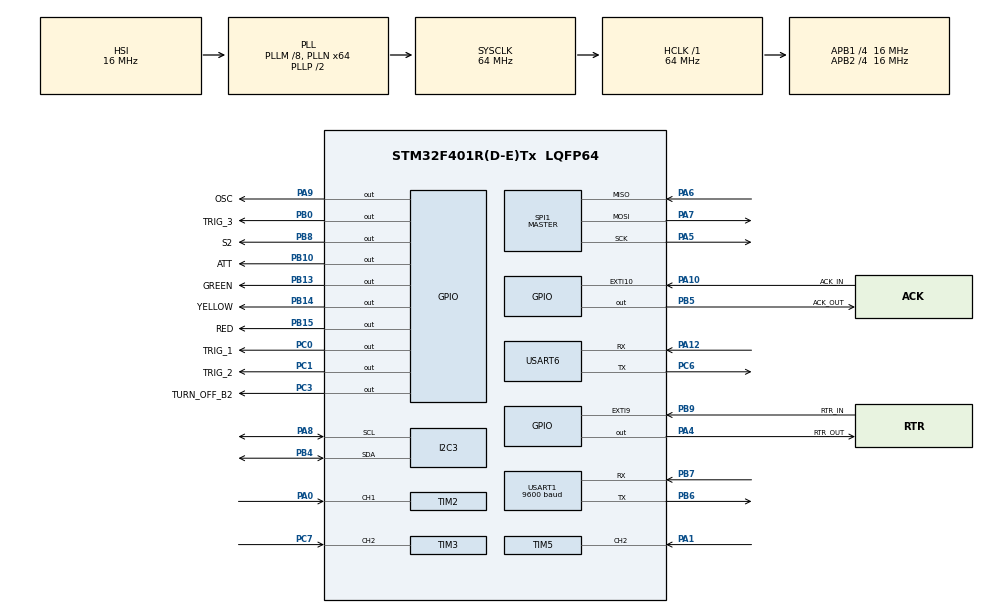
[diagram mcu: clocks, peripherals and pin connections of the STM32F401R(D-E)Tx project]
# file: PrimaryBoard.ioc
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ADC1.Channel-1\#ChannelRegularConversion=ADC_CHANNEL_TEMPSENSOR
ADC1.ContinuousConvMode=ENABLE
ADC1.EOCSelection=ADC_EOC_SEQ_CONV
ADC1.NbrOfConversionFlag=1
ADC1.Rank-1\#ChannelRegularConversion=1
ADC1.SamplingTime-1\#ChannelRegularConversion=ADC_SAMPLETIME_3CYCLES
ADC1.master=1
FREERTOS.Tasks01=defaultTask,24,128,StartDefaultTask,Default,NULL,Dynamic,NULL,NULL
FREERTOS.configENABLE_FPU=1
FREERTOS.configUSE_NEWLIB_REENTRANT=1
I2C3.DutyCycle=I2C_DUTYCYCLE_16_9
I2C3.I2C_Mode=I2C_Fast
Mcu.Family=STM32F4
Mcu.Name=STM32F401R(D-E)Tx
Mcu.Package=LQFP64
NVIC.EXTI15_10_IRQn=true\:5\:0\:false\:false\:true\:true\:true\:true\:true
NVIC.EXTI9_5_IRQn=true\:5\:0\:false\:false\:true\:true\:true\:true\:true
NVIC.PriorityGroup=NVIC_PRIORITYGROUP_4
NVIC.TIM1_TRG_COM_TIM11_IRQn=true\:5\:0\:false\:false\:true\:true\:true\:true\:true
NVIC.TIM1_UP_TIM10_IRQn=true\:15\:0\:false\:false\:true\:false\:false\:true\:true
NVIC.TIM2_IRQn=true\:5\:0\:false\:false\:true\:true\:true\:true\:true
NVIC.TIM3_IRQn=true\:5\:0\:false\:false\:true\:true\:true\:true\:true
NVIC.TIM5_IRQn=true\:5\:0\:false\:false\:true\:true\:true\:true\:true
NVIC.TimeBase=TIM1_UP_TIM10_IRQn
NVIC.TimeBaseIP=TIM10
NVIC.USART6_IRQn=true\:5\:0\:false\:false\:true\:true\:true\:true\:true
PA0-WKUP.Signal=S_TIM2_CH1_ETR
PA1.Signal=S_TIM5_CH2
PA10.GPIO_Label=ACK_IN
PA10.Signal=GPXTI10
PA12.Mode=Asynchronous
PA12.Signal=USART6_RX
PA13.Mode=Trace_Asynchronous_SW
PA13.Signal=SYS_JTMS-SWDIO
PA14.Mode=Trace_Asynchronous_SW
PA14.Signal=SYS_JTCK-SWCLK
PA4.GPIO_Label=RTR_OUT
PA4.Signal=GPIO_Output
PA5.Mode=Full_Duplex_Master
PA5.Signal=SPI1_SCK
PA6.Mode=Full_Duplex_Master
PA6.Signal=SPI1_MISO
PA7.Mode=Full_Duplex_Master
PA7.Signal=SPI1_MOSI
PA8.Mode=I2C
PA8.Signal=I2C3_SCL
PA9.GPIO_Label=OSC
PA9.Signal=GPIO_Output
PB0.GPIO_Label=TRIG_3
PB0.Signal=GPIO_Output
PB10.GPIO_Label=ATT
PB10.Signal=GPIO_Output
PB13.GPIO_Label=GREEN
PB13.Signal=GPIO_Output
PB14.GPIO_Label=YELLOW
PB14.Signal=GPIO_Output
PB15.GPIO_Label=RED
PB15.Signal=GPIO_Output
PB3.Mode=Trace_Asynchronous_SW
PB3.Signal=SYS_JTDO-SWO
PB4.Mode=I2C
PB4.Signal=I2C3_SDA
PB5.GPIO_Label=ACK_OUT
PB5.Signal=GPIO_Output
PB6.Mode=Asynchronous
PB6.Signal=USART1_TX
PB7.Mode=Asynchronous
PB7.Signal=USART1_RX
PB8.GPIO_Label=S2
PB8.Signal=GPIO_Output
PB9.GPIO_Label=RTR_IN
PB9.Signal=GPXTI9
PC0.GPIO_Label=TRIG_1
PC0.Signal=GPIO_Output
PC1.GPIO_Label=TRIG_2
PC1.Signal=GPIO_Output
PC3.GPIO_Label=TURN_OFF_B2
PC3.Signal=GPIO_Output
PC6.Mode=Asynchronous
PC6.Signal=USART6_TX
PC7.Signal=S_TIM3_CH2
ProjectManager.HeapSize=0x200
ProjectManager.StackSize=0x400
ProjectManager.TargetToolchain=STM32CubeIDE
RCC.48MHZClocksFreq_Value=18285714.285714287
RCC.AHBFreq_Value=64000000
RCC.APB1CLKDivider=RCC_HCLK_DIV4
RCC.APB1Freq_Value=16000000
RCC.APB1TimFreq_Value=32000000
RCC.APB2CLKDivider=RCC_HCLK_DIV4
RCC.APB2Freq_Value=16000000
RCC.APB2TimFreq_Value=32000000
RCC.CortexFreq_Value=64000000
RCC.HCLKFreq_Value=64000000
RCC.HSE_VALUE=8000000
RCC.HSI_VALUE=16000000
RCC.LSE_VALUE=32768
RCC.PLLM=8
RCC.PLLN=64
RCC.PLLQ=7
RCC.SYSCLKFreq_VALUE=64000000
RCC.SYSCLKSource=RCC_SYSCLKSOURCE_PLLCLK
RCC.VCOOutputFreq_Value=128000000
SH.S_TIM2_CH1_ETR.0=TIM2_CH1,Input_Capture1_from_TI1
SH.S_TIM3_CH2.0=TIM3_CH2,Input_Capture2_from_TI2
SH.S_TIM5_CH2.0=TIM5_CH2,Input_Capture2_from_TI2
SPI1.BaudRatePrescaler=SPI_BAUDRATEPRESCALER_256
SPI1.CLKPhase=SPI_PHASE_2EDGE
SPI1.CLKPolarity=SPI_POLARITY_HIGH
SPI1.Direction=SPI_DIRECTION_2LINES
SPI1.FirstBit=SPI_FIRSTBIT_LSB
SPI1.Mode=SPI_MODE_MASTER
SPI1.VirtualType=VM_MASTER
TIM2.Channel-Input_Capture1_from_TI1=TIM_CHANNEL_1
TIM2.Prescaler=31
TIM3.Channel-Input_Capture2_from_TI2=TIM_CHANNEL_2
TIM3.Prescaler=31
TIM5.Channel-Input_Capture2_from_TI2=TIM_CHANNEL_2
TIM5.Prescaler=31
USART1.BaudRate=9600
USART1.VirtualMode=VM_ASYNC
USART6.Parity=PARITY_ODD
USART6.VirtualMode=VM_ASYNC
USART6.WordLength=WORDLENGTH_9B
VP_ADC1_TempSens_Input.Mode=IN-TempSens
VP_CRC_VS_CRC.Mode=CRC_Activate
VP_FREERTOS_VS_CMSIS_V2.Mode=CMSIS_V2
VP_SYS_VS_tim10.Mode=TIM10
VP_TIM11_VS_ClockSourceINT.Mode=Enable_Timer
board=NUCLEO-F401RE

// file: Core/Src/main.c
/*
 * Course: IoT and embedded system design 2023/2024
 *
 * Lecturer: Francesco Moscato	fmoscato@unisa.it
 *
 * Group:
 * Adinolfi Teodoro    0622701902	   t.adinolfi2@studenti.unisa.it
 * Amato Emilio        0622701903      e.amato16@studenti.unisa.it
 * Bove Antonio        0622701898      a.bove57@studenti.unisa.it
 * Guarini Alessio     0622702042	   g.guarini7@studenti.unisa.it
 *
 * Copyright (C) 2024 - All Rights Reserved
 *
 * This file is part of PrimaryBoard.
 *
 * This program is free software: you can redistribute it and/or modify it under the terms of
 * the GNU General Public License as published by the Free Software Foundation, either version
 * 3 of the License, or (at your option) any later version.
 *
 * This program is distributed in the hope that it will be useful, but WITHOUT ANY WARRANTY;
 * without even the implied warranty of MERCHANTABILITY or FITNESS FOR A PARTICULAR PURPOSE.
 * See the GNU General Public License for more details.
 *
 * You should have received a copy of the GNU General Public License along with ContestOMP.
 * If not, see <http://www.gnu.org/licenses/>.
 */

/* USER CODE BEGIN Header */
/**
  ******************************************************************************
  * @file           : main.c
  * @brief          : Main program body
  ******************************************************************************
  * @attention
  *
  * Copyright (c) 2023 STMicroelectronics.
  * All rights reserved.
  *
  * This software is licensed under terms that can be found in the LICENSE file
  * in the root directory of this software component.
  * If no LICENSE file comes with this software, it is provided AS-IS.
  *
  ******************************************************************************
  */
/* USER CODE END Header */
#include "main.h"
#include "cmsis_os.h"
#include "adc.h"
#include "crc.h"
#include "i2c.h"
#include "spi.h"
#include "tim.h"
#include "usart.h"
#include "gpio.h"

/* USER CODE BEGIN Includes */
#include "scheduler.h"

/* USER CODE END Includes */

void SystemClock_Config(void);
void MX_FREERTOS_Init(void);

int main(void)
{

  /* MCU Configuration--------------------------------------------------------*/

  /* Reset of all peripherals, Initializes the Flash interface and the Systick. */
  HAL_Init();

  /* Configure the system clock */
  SystemClock_Config();

  /* Initialize all configured peripherals */
  MX_GPIO_Init();
  MX_TIM5_Init();
  MX_USART1_UART_Init();
  MX_I2C3_Init();
  MX_TIM3_Init();
  MX_SPI1_Init();
  MX_TIM2_Init();
  MX_ADC1_Init();
  MX_CRC_Init();
  MX_USART6_UART_Init();
  MX_TIM11_Init();
  /* USER CODE BEGIN 2 */
  HAL_Delay(100);
  HAL_GPIO_WritePin(S2_GPIO_Port, S2_Pin, 1);
  HAL_GPIO_WritePin(TURN_OFF_B2_GPIO_Port, TURN_OFF_B2_Pin, 0);
  /* USER CODE END 2 */

  /* Init scheduler */
  osKernelInitialize();

  /* Call init function for freertos objects (in freertos.c) */
  MX_FREERTOS_Init();

  /* Start scheduler */
  osKernelStart();

  /* We should never get here as control is now taken by the scheduler */
  /* Infinite loop */
  while (1)
  {

  }
}

void SystemClock_Config(void)
{
  RCC_OscInitTypeDef RCC_OscInitStruct = {0};
  RCC_ClkInitTypeDef RCC_ClkInitStruct = {0};

  /** Configure the main internal regulator output voltage
  */
  __HAL_RCC_PWR_CLK_ENABLE();
  __HAL_PWR_VOLTAGESCALING_CONFIG(PWR_REGULATOR_VOLTAGE_SCALE2);

  /** Initializes the RCC Oscillators according to the specified parameters
  * in the RCC_OscInitTypeDef structure.
  */
  RCC_OscInitStruct.OscillatorType = RCC_OSCILLATORTYPE_HSI;
  RCC_OscInitStruct.HSIState = RCC_HSI_ON;
  RCC_OscInitStruct.HSICalibrationValue = RCC_HSICALIBRATION_DEFAULT;
  RCC_OscInitStruct.PLL.PLLState = RCC_PLL_ON;
  RCC_OscInitStruct.PLL.PLLSource = RCC_PLLSOURCE_HSI;
  RCC_OscInitStruct.PLL.PLLM = 8;
  RCC_OscInitStruct.PLL.PLLN = 64;
  RCC_OscInitStruct.PLL.PLLP = RCC_PLLP_DIV2;
  RCC_OscInitStruct.PLL.PLLQ = 7;
  if (HAL_RCC_OscConfig(&RCC_OscInitStruct) != HAL_OK)
  {
    Error_Handler();
  }

  /** Initializes the CPU, AHB and APB buses clocks
  */
  RCC_ClkInitStruct.ClockType = RCC_CLOCKTYPE_HCLK|RCC_CLOCKTYPE_SYSCLK
                              |RCC_CLOCKTYPE_PCLK1|RCC_CLOCKTYPE_PCLK2;
  RCC_ClkInitStruct.SYSCLKSource = RCC_SYSCLKSOURCE_PLLCLK;
  RCC_ClkInitStruct.AHBCLKDivider = RCC_SYSCLK_DIV1;
  RCC_ClkInitStruct.APB1CLKDivider = RCC_HCLK_DIV4;
  RCC_ClkInitStruct.APB2CLKDivider = RCC_HCLK_DIV4;

  if (HAL_RCC_ClockConfig(&RCC_ClkInitStruct, FLASH_LATENCY_2) != HAL_OK)
  {
    Error_Handler();
  }
}

void Error_Handler(void)
{
  /* USER CODE BEGIN Error_Handler_Debug */
  /* User can add his own implementation to report the HAL error return state */
  __disable_irq();
  HAL_GPIO_WritePin(S2_GPIO_Port, S2_Pin, 1);
  HAL_GPIO_WritePin(TURN_OFF_B2_GPIO_Port, TURN_OFF_B2_Pin, 1);
  while (1)
  {
  }
  /* USER CODE END Error_Handler_Debug */
}

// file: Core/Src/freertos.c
/*
 * Course: IoT and embedded system design 2023/2024
 *
 * Lecturer: Francesco Moscato	fmoscato@unisa.it
 *
 * Group:
 * Adinolfi Teodoro    0622701902	   t.adinolfi2@studenti.unisa.it
 * Amato Emilio        0622701903      e.amato16@studenti.unisa.it
 * Bove Antonio        0622701898      a.bove57@studenti.unisa.it
 * Guarini Alessio     0622702042	   g.guarini7@studenti.unisa.it
 *
 * Copyright (C) 2024 - All Rights Reserved
 *
 * This file is part of PrimaryBoard.
 *
 * This program is free software: you can redistribute it and/or modify it under the terms of
 * the GNU General Public License as published by the Free Software Foundation, either version
 * 3 of the License, or (at your option) any later version.
 *
 * This program is distributed in the hope that it will be useful, but WITHOUT ANY WARRANTY;
 * without even the implied warranty of MERCHANTABILITY or FITNESS FOR A PARTICULAR PURPOSE.
 * See the GNU General Public License for more details.
 *
 * You should have received a copy of the GNU General Public License along with ContestOMP.
 * If not, see <http://www.gnu.org/licenses/>.
 */

/* USER CODE BEGIN Header */
/**
  ******************************************************************************
  * File Name          : freertos.c
  * Description        : Code for freertos applications
  ******************************************************************************
  * @attention
  *
  * Copyright (c) 2024 STMicroelectronics.
  * All rights reserved.
  *
  * This software is licensed under terms that can be found in the LICENSE file
  * in the root directory of this software component.
  * If no LICENSE file comes with this software, it is provided AS-IS.
  *
  ******************************************************************************
  */
/* USER CODE END Header */

#include "FreeRTOS.h"
#include "task.h"
#include "main.h"
#include "cmsis_os.h"

/* USER CODE BEGIN Includes */
#include "tim.h"
#include "adc.h"
#include "crc.h"
/* Include Dependencies */
#include "geometry.h"
#include "sabertooth_2x12.h"
#include "ps2x.h"
#include "smoothed_ps2x_analog.h"
#include "mpu60x0.h"
#include "hcsr04.h"
#include "state_manager.h"

#include "b2b_common.h"
#include "b2b_protocol.h"
#include "delayus.h"

#include "math.h"

#include "liquid_crystal_I2C.h"

#include <stdlib.h>
#include <stdio.h>

/**
 * @file scheduler.h
 * @brief Replaces the FreeRTOS scheduler with the custom scheduler "ESFree".
 *
 * This file includes the necessary definitions to implement the "ESFree" scheduler,
 * designed to support the Timeline Scheduling policy in FreeRTOS environments.
 * It includes functions for initializing and managing the custom scheduler.
 *
 * For the use of the Timeline Scheduling policy, the macro schedSCHEDULING_POLICY_MANUAL has been configured.
 *
 * Furthermore, for the correct use of the following policy, in the FreeRTOSConfig.h configuration file,
 * time slicing has been disabled by setting the macro configUSE_TIME_SLICING to 0, as it is normally active.
 */
#include "scheduler.h"

/**
 * @file periodic_tasks_constants.h
 * @brief Defines constants for periodic tasks.
 *
 * This header file contains the definitions of constants necessary to configure
 * periodic tasks. It includes definitions for the phase, period, worst-case execution time (WCET),
 * and deadline of each task.
 */
#include "periodic_tasks_constants.h"

/* USER CODE END Includes */

/* USER CODE BEGIN PD */

#define MAX_VELOCITY_NORMAL				(POWER_MAX)							/**< Defines the max velocity of the rover with the normal behaviour. */
#define MAX_VELOCITY_DEGRADED			((int8_t)POWER_MAX / 2)				/**< Defines the max velocity of the rover with the degraded behaviour. */
#define USE_B2B_PROTOCOL													/**< Enables the use of the B2B protocol. */
#define USE_PS2X               							  					/**< Enables the use of the PS2X controller. */
#define USE_SABERTOOTHS 	  							  					/**< Enables the use of the Sabertooth motor drivers. */
#define USE_MPU6050 		  							  					/**< Enables the use of the MPU6050 accelerometer. */
#define USE_HCSR04 			  							  					/**< Enables the use of the HCSR04 ultrasonic sensors. */
//#define USE_LCD 			  							  					/**< Enables the use of the LCD display. */

/* USER CODE END PD */

/* USER CODE BEGIN Variables */

/********************** B2B protocol buffer *****************/
/**
 * @brief Buffer used for the B2B protocol. This buffer is used to store the data exchanged between the two boards.
 * this buffer is used for all the data exchanged between the two boards.
*/
static uint8_t buffer[SUBSTATE_B1_B2_BYTE_SIZE + CRC_SIZE];

/********************** B2B configuration parameter *****************/
static const b2b_config_t b2b_config = {
		  .ack_in_Pin = ACK_IN_Pin,
		  .ack_in_Port = ACK_IN_GPIO_Port,
		  .ack_out_Pin = ACK_OUT_Pin,
		  .ack_out_Port = ACK_OUT_GPIO_Port,
		  .rtr_in_Pin = RTR_IN_Pin,
		  .rtr_in_Port = RTR_IN_GPIO_Port,
		  .rtr_out_Pin = RTR_OUT_Pin,
		  .rtr_out_Port = RTR_OUT_GPIO_Port,
		  .uartHandle = &huart6,
		  .crcHandle  = &hcrc,
		  .timer = &htim11
};

/*******************************************************************/

/******************* PS2X configuration parameter *******************/
static PS2X ps2x;
static const PS2X_config_t ps2x_config = {
		  .ATT_Port = ATT_GPIO_Port,
		  .ATT_GPIO_Pin = ATT_Pin,
		  .hspi = &hspi1
};
/********************************************************************/

/***************** MPU60X0 configuration parameter *****************/
static MPU60X0_t mpu6050;
static const MPU60X0_config_t mpu6050_config = {
		  .hi2c = &hi2c3
};
/*******************************************************************/

/****************** HCSR04 configuration parameter *****************/
static ultrasounds_t ultrasounds;
static const HCSR04_config_t HCSR04_left_config = {
		  .Trig_Port = TRIG_1_GPIO_Port,
		  .Trig_Pin = TRIG_1_Pin,
		  .timer = &htim5,
		  .channel = TIM_CHANNEL_2
};

static const HCSR04_config_t HCSR04_center_config = {
  		  .Trig_Port = TRIG_2_GPIO_Port,
  		  .Trig_Pin = TRIG_2_Pin,
  		  .timer = &htim2,
  		  .channel = TIM_CHANNEL_1
};

static const HCSR04_config_t HCSR04_right_config = {
  		  .Trig_Port = TRIG_3_GPIO_Port,
  		  .Trig_Pin = TRIG_3_Pin,
  		  .timer = &htim3,
  		  .channel = TIM_CHANNEL_2
};
/*******************************************************************/
/**************** Sabertooth configuration parameter ***************/
static sabertooth_t sabertooth1, sabertooth2;
static const sabertooth_config_t sabertooth_1_config = {
		  .address = 128,
		  .uartHandle = &huart1
};
static const sabertooth_config_t sabertooth_2_config = {
  		  .address = 130,
  		  .uartHandle = &huart1
};
/*******************************************************************/
/************* Liquid Crystal I2C configuration parameter **********/
lcd_i2c_t lcd;
lcd_i2c_config_t lcd_config = {
		._addr = LCD_ADDRESS,
		._cols = 16,
		._i2cHandle = &hi2c3,
		._rows = 2
};

static uint8_t timer_elapsed_first = 0;	/**< Flag to check if the first timer has elapsed, only for internal purpose. */

/**
 * @brief Handle for the sensor reading task.
 *
 * This variable is used to maintain the reference to the task responsible
 * for reading the sensors.
 */
TaskHandle_t read_sensors_task_handle           = NULL;

/**
 * @brief Handle for the decision task.
 *
 * This variable is the handle for the task responsible for deciding the next actions
 * based on the exchanged and non-exchanged information among the boards.
 */
TaskHandle_t decision_task_handle          		= NULL;

/**
 * @brief Handle for the actuation task.
 *
 * Handle for the task responsible for actuation operations. In particular, it is responsible
 * for managing the actuation and control of the motors.
 */
TaskHandle_t actuation_task_handle              = NULL;

#ifdef USE_LCD
static char buff[30];
#endif

/* USER CODE END Variables */

/* USER CODE BEGIN FunctionPrototypes */
void MX_FREERTOS_Init(void); /* (MISRA C 2004 rule 8.1) */

/**
 * @brief  Task used to read all the sensors managed by the primary board
 *
 * @param pvParameters  parameters passed to the task
 */
static void read_sensors_task(void *pvParameters);

/**
 * @brief Task used to manage the communication between the two boards, this task
 * only starts the comunication, all the protocol will be executed in background
 * useing the interrupt
 *
 * @param pvParameters parameters passed to the task
 */
static void decision_task(void *pvParameters);

/**
 * @brief Task used to manage the actuation of the rover
 *
 * @param pvParameters parameters passed to the task
 */
static void actuation_task(void *pvParameters);

/**
 * @brief Task used to manage the actuation of the rover
 *
 * @param pvParameters parameters passed to the task
 */
static void single_board_task(void *pvParameters);

/********************** Control Buttons Managing *****************/
/**
 * @brief Clears impulsive action flags from the control buttons state.
 *
 * This function removes the flags related to actions that are intended to be impulsive or momentary,
 * such all flags that do not concern the backward alternative, the emergency stop, ensuring that these actions do not persist
 * beyond their intended moment of activation.
 *
 * @param control_buttons The current state of the control buttons.
 * @return The new state of the control buttons with impulsive action flags cleared.
 */
static inline uint8_t __clear_impulsive_flags(uint8_t control_buttons);

/**
 * @brief Clears the emergency stop flag from the control buttons state.
 *
 * This function specifically targets and clears the emergency stop flag, allowing for the
 * reset of the emergency stop state without affecting other control states.
 *
 * @param control_buttons The current state of the control buttons.
 * @return The new state of the control buttons with the emergency stop flag cleared.
 */
static inline uint8_t __clear_emegency_stop_flags(uint8_t control_buttons);

/**
 * @brief Determines if the alternate backward command combo is activated.
 *
 * Checks if a specific combination of buttons (e.g., SQUARE and DOWN) is pressed to activate
 * an alternate backward command. This could be used to trigger special vehicle movements or actions.
 *
 * @param ps2x Pointer to the PS2X controller object.
 * @return A mask indicating whether the alternate backward command combo is active.
 */
static inline uint8_t __get_alt_backward_combo_mask(PS2X *ps2x);

/**
 * @brief Determines if the backward command is activated based on the rover's state.
 *
 * Checks if the conditions for activating a backward command are met, considering the current
 * state of the rover and the button press state. This can include specific button combinations
 * and rover states such as being idle.
 *
 * @param ps2x Pointer to the PS2X controller object.
 * @param rover_state The current state of the rover.
 * @param control_buttons The current state of the control buttons.
 * @return A mask indicating whether the backward command is active.
 */
static inline uint8_t __get_backward_cmd_mask(PS2X *ps2x, ROVER_STATE rover_state, uint8_t control_buttons);

/**
 * @brief Clears the flags related to light control from the control buttons state.
 *
 * This function targets and clears the flags controlling the vehicle's lights, allowing for
 * the reset of the lights' state without affecting other control states.
 *
 * @param control_buttons Pointer to the current state of the control buttons.
 */
static inline void __clear_lights_flag(uint8_t *control_buttons);

/**
 * @brief Clears the emergency stop flag from the control buttons state by reference.
 *
 * @param control_buttons Pointer to the current state of the control buttons.
 */
static inline void __clear_emergency_stop_flag(uint8_t *control_buttons);

/**
 * @brief Calculates the control buttons mask for light controls based on PS2X input.
 *
 * Determines the state of the vehicle's lights (left, right, both) based on the current
 * state of the PS2X controller inputs. This includes toggling lights on or off based on specific
 * button presses.
 *
 * @param ps2x Pointer to the PS2X controller object.
 * @param control_buttons The current state of the control buttons, used to determine the initial state of the lights.
 * @return A mask indicating the new state of the lights control buttons.
 */
static inline uint8_t __get_lights_control_buttons_mask(PS2X *ps2x, uint8_t control_buttons);

/**
 * @brief Determines if the buzzer should be activated based on PS2X input.
 *
 * Checks if the button for activating the buzzer (e.g., L1) is pressed, allowing for auditory
 * feedback or alerts based on controller input.
 *
 * @param ps2x Pointer to the PS2X controller object.
 * @return A mask indicating whether the buzzer is activated.
 */
static inline uint8_t __get_buzzer_mask(PS2X *ps2x);

/**
 * @brief Determines the emergency stop mask based on PS2X input and current control buttons state.
 *
 * This function calculates whether an emergency stop action should be toggled based on the current
 * button press state and the previous state of the emergency stop control.
 *
 * @param ps2x Pointer to the PS2X controller object.
 * @param control_buttons The current state of the control buttons, used to determine the initial state of the emergency stop.
 * @return The new state of the emergency stop control button.
 */
static inline uint8_t __get_emergency_stop_mask(PS2X *ps2x, uint8_t control_buttons);

/**
 * @brief Updates the control buttons state based on PS2X input and rover state.
 *
 * This function consolidates the various control button state updates, including clearing impulsive flags,
 * updating light control states, and setting emergency stop, buzzer states, the alternative backward states, based on the current
 * inputs from the PS2X controller and the rover's state.
 *
 * @param ps2x Pointer to the PS2X controller object.
 * @param rover_state The current state of the rover.
 * @param control_buttons The current state of the control buttons.
 * @return The updated state of the control buttons incorporating all changes based on input and rover state.
 */
static inline uint8_t __update_control_buttons(PS2X *ps2x, ROVER_STATE rover_state, uint8_t control_buttons);

/**
 * @brief Read the gamepad associated to the specified ps2x structure.
 *
 * @param ps2x structure associated to the gamepad
 */
static void __read_gamepad(PS2X *ps2x);

/**
 * @brief Read the MPU6050 sensor associated to the specified mpu6050 structure.
 *
 * @param mpu6050 structure associated to the MPU6050 sensor
 */
static void __read_mpu6050(MPU60X0_t *mpu6050);

/**
 * @brief Read the temperature of the microcontroller.
 */
static void __read_temperature(void);

/**
 * @brief Calculates the maximum allowable velocity based on the current rover state.
 *
 * @return int8_t maximum allowable velocity
 */
static int8_t __get_max_velocity(void);

/**
 * @brief Drive the rover based on the current state and the received commands.
 *
 * @param sabertooth1 pointer to the first sabertooth motor driver
 * @param sabertooth2 pointer to the second sabertooth motor driver
 * @param x_analog x-axis analog value
 * @param y_analog y-axis analog value
 * @param max_velocity maximum allowable velocity
 * @param max_increment_y maximum increment of the y-axis analog value, higher values mean faster acceleration
 * @param max_decrement_y maximum decrement of the y-axis analog value, higher values mean faster deceleration
 */
static void __drive(sabertooth_t *sabertooth1, sabertooth_t *sabertooth2, int8_t x_analog, int8_t y_analog, int8_t max_velocity,
					uint8_t max_increment_y, uint8_t max_decrement_y);

/* USER CODE END FunctionPrototypes */

void MX_FREERTOS_Init(void) {
  /* USER CODE BEGIN Init */

	#ifdef USE_B2B_PROTOCOL
	b2b_protocol_init(&b2b_config, buffer);
	#endif

	#ifdef USE_PS2X
	if(PS2X_init(&ps2x, &ps2x_config, 1, osWaitForever) != PS2X_OK){
		PS2X_StatusTypeDef ps2_status = PS2X_ERROR;
		do{
			ps2_status = ping_controller(&ps2x, 1, osWaitForever);
		} while(ps2_status != PS2X_OK);
	}
	#endif

	#ifdef USE_LCD
	if(liquidCrystal_I2C_init(&lcd, &lcd_config) != LCD_OK){
		Error_Handler();
	}
	#endif

	#ifdef USE_MPU6050
	if(MPU60X0_init(&mpu6050, &mpu6050_config, osWaitForever) != MPU60X0_OK){
		Error_Handler();
	}
	#endif

	#ifdef USE_HCSR04
	if(HCSR04_init(&ultrasounds, &HCSR04_left_config, &HCSR04_center_config, &HCSR04_right_config) != HCSR04_OK){
		Error_Handler();
	}
	#endif

	#ifdef USE_SABERTOOTHS
	if(sabertooth_init(&sabertooth1, &sabertooth_1_config) != SABERTOOTH_OK ||
       sabertooth_init(&sabertooth2, &sabertooth_2_config) != SABERTOOTH_OK){
	  Error_Handler();
	}
	#endif

	if(HAL_ADC_Start(&hadc1) != HAL_OK){
		Error_Handler();
	}

  /* Inizializzazione dello scheduler*/
	vSchedulerInit();
  /* Creazione dei task periodici */

  /* Creazione del task di lettura dei sensori con i parametri definiti in periodic_tasks_constants.h */
  vSchedulerPeriodicTaskCreate(read_sensors_task, "read_Sensors_task", configMINIMAL_STACK_SIZE, NULL, 3, &read_sensors_task_handle, READ_SENSORS_TASK_PHASE, READ_SENSORS_TASK_PERIOD, READ_SENSORS_TASK_WCET, READ_SENSORS_TASK_DEADLINE);

  /* Creazione del task di decisione con i parametri definiti in periodic_tasks_constants.h */
  vSchedulerPeriodicTaskCreate(decision_task, "decision_task", configMINIMAL_STACK_SIZE, NULL, 2, &decision_task_handle, DECISION_TASK_PHASE, DECISION_TASK_PERIOD, DECISION_TASK_WCET, DECISION_TASK_DEADLINE);

  /* Creazione del task di attuazione con i parametri definiti in periodic_tasks_constants.h */
  vSchedulerPeriodicTaskCreate(actuation_task, "actuation_task", configMINIMAL_STACK_SIZE, NULL, 1, &actuation_task_handle, ACTUATION_TASK_PHASE, ACTUATION_TASK_PERIOD, ACTUATION_TASK_WCET, ACTUATION_TASK_DEADLINE);
  /* USER CODE END Init */

  /* Create the thread(s) */
  /* creation of defaultTask */

}

/* USER CODE BEGIN Application */

/**
 * @brief Activate the single board mode. In this mnode the communication with the secondary board is disabled.
 *        The rover will work in a degraded mode, using only the sensors and the actuators of the primary board.
 */
static inline void single_board_mode(){
	/*Reschedule the original decision task with the single board one*/
	rover_state_t *rover_state = rover_state_get_instance();
	rover_state->single_board_is_active = 1U;

	rescheduleTask(single_board_task, "single_board_task", NULL, &decision_task_handle, SINGLE_BOARD_TASK_WCET);
}

/**
 * @brief Task responsible for sensor reading
 * This task is responsible for reading the following sensors:
 *    - PS2 controller reading: estimated time 1.25 ms.
 *      For a detailed analysis, see chapter 4.1.1, PS2 Controller section.
 *    - HCSR04 ultrasonic sensors reading: estimated time 23.5 ms.
 *      For a detailed analysis, see chapter 4.1.1, HCSR04 section.
 *    - Accelerometer reading: estimated time 0.30 ms.
 *      For a detailed analysis, see chapter 4.1.1, MPU6050 section.
 *    - Internal microcontroller temperature reading: not considered.
 * An approximate time of 26 ms has been considered.
 *
 * @param pvParameters Pointer to parameters passed to the task
 *
 */

static void read_sensors_task(void *pvParameters){

	#ifdef USE_PS2X
	__read_gamepad(&ps2x);
	#endif

	#ifdef USE_MPU6050
	__read_mpu6050(&mpu6050);
	#endif

	__read_temperature();

	#ifdef USE_HCSR04
	HCSR04_read(&ultrasounds);
	rover_state_t *rover_state = rover_state_get_instance();
	rover_state->obstacle_distances[0] = ultrasounds.left.current_distance;
	rover_state->obstacle_distances[1] = ultrasounds.center.current_distance;
	rover_state->obstacle_distances[2] = ultrasounds.right.current_distance;
	#endif

	#ifdef USE_LCD
	clear(&lcd);
	sprintf(buff, "%.0f %.0f %.0f", ultrasounds.left.current_distance, ultrasounds.center.current_distance, ultrasounds.right.current_distance);
	print(&lcd, buff);
	#endif

}

/**
 * @brief Task responsible for executing the communication protocol with board_1
 * The communication protocol is discussed in chapter 4.1.2 "Information Exchange Between Boards".
 * The task consists of the following phases:
 *   - Reception of information read by the sensor reading task of board_1, estimated time 2.67 ms.
 *   - Transmission of information read by the sensor reading task of the current board, estimated time 2.29 ms.
 *   - Updating the global system view and calculation of intentions, estimated time 2 ms.
 *   - Reception of intentions from board_1, estimated time 0.66 ms.
 *   - Transmission of intentions to board_2, estimated time 0.66 ms.
 *
 *  Not all this times are important fo the scheduling because the communication is managed by the interrupt.
 *
 * @param pvParameters Pointer to parameters passed to the task
 */
static void decision_task(void *pvParameters){

	// Ricevo lo stato dalla board2, safe receive gestisce la richiesta di ritrasmissione.
	#ifdef USE_B2B_PROTOCOL
		b2b_protocol_t* b2b = get_b2b_instance();
		if(b2b->protocol_status == 0){
			b2b->retransmissions_num = 0;
			b2b->protocol_status = 1;
			b2b_request_state();
		}else{
			single_board_mode();
		}
	#endif
}

#ifdef USE_LCD
    /**
     * @brief Get the string associated to the starus of the rover. Used only for debug purposes with the LCD mounted on the rover.
     *
     * @param state the actual state of the rover
     * @return const char* string associated to the state
     */
	const char* get_state_string(ROVER_STATE state) {
	switch (state) {
		case IDLE:
		return "IDLE";
		case FORWARD:
		return "FORWARD";
		case ON_RIGHT:
		return "ON_RIGHT";
		case ON_LEFT:
		return "ON_LEFT";
		case FORWARD_RIGHT:
		return "FORWARD_RIGHT";
		case FORWARD_LEFT:
		return "FORWARD_LEFT";
		case BACKWARD:
		return "BACKWARD";
		case BACKWARD_RIGHT:
		return "BACKWARD_RIGHT";
		case BACKWARD_LEFT:
		return "BACKWARD_LEFT";
		case BRAKING:
		return "BRAKING";
		case EMERGENCY:
		return "EMERGENCY";
		case AVOID_RIGHT_OBST:
			return "AVOID_RIGHT_OBST";
		case AVOID_LEFT_OBST:
			return "AVOID_left_OBST";
		default:
		return "UNKNOWN_STATE";
	}
	}
#endif

/**
 * @brief Task responsible for actuating commands.
 *
 * The actuation task is responsible for bringing the rover to the physical state corresponding to the intention
 * jointly agreed upon by the two boards. The task independently manages the four rover motors by commanding them
 * via UART, with each transmission estimated to last about 4.16 ms. For a detailed analysis, see chapter 4.1.3.
 *
 * The execution time of the task has been estimated at 17 ms.
 *
 * @param pvParameters Pointer to parameters passed to the task
 */
static void actuation_task(void *pvParameters){

	static int8_t max_velocity = MAX_VELOCITY_NORMAL;
	rover_state_t *rover_state = rover_state_get_instance();

	#ifdef USE_LCD
		setCursor(&lcd, 0, 1);
		print(&lcd, get_state_string(rover_state->current_state));
	#endif

	if((rover_state->control_buttons & EMERGENCY_STOP_MASK) != 0){ // spostarlo nel task di decisione (?)
		HAL_GPIO_WritePin(S2_GPIO_Port, S2_Pin, 1);
		__drive(&sabertooth1, &sabertooth2, 0, 0, max_velocity, MAX_INCREMENT_STEP_Y, 127);
	}else{

		HAL_GPIO_WritePin(S2_GPIO_Port, S2_Pin, 0);

		max_velocity = __get_max_velocity();

		if(rover_state->single_board_is_active == 1U && rover_state->current_state == IDLE){
			HAL_GPIO_WritePin(S2_GPIO_Port, S2_Pin, 1);
		}else if(rover_state->current_state == BRAKING){
			if(rover_state->braking == SMOOTH){
				__drive(&sabertooth1, &sabertooth2, 0, 0, max_velocity, MAX_INCREMENT_STEP_Y, MAX_DECREMENT_STEP_Y/4 + 1);
			}else if(rover_state->braking == HARD){
				__drive(&sabertooth1, &sabertooth2, 0, 0, max_velocity, MAX_INCREMENT_STEP_Y, 127);
			}
		} else if(rover_state->current_state == ALTERNATIVE_BACKWARD) {
			__drive(&sabertooth1, &sabertooth2, 40, 0, max_velocity, MAX_INCREMENT_STEP_Y, MAX_DECREMENT_STEP_Y);

		} else if(rover_state->current_state == AVOID_LEFT_OBST){
			__drive(&sabertooth1, &sabertooth2, 40, 0, max_velocity, MAX_INCREMENT_STEP_Y, MAX_DECREMENT_STEP_Y);

		} else if(rover_state->current_state == AVOID_RIGHT_OBST){
			__drive(&sabertooth1, &sabertooth2, -40, 0, max_velocity, MAX_INCREMENT_STEP_Y, MAX_DECREMENT_STEP_Y);

		} else if(rover_state->current_state != IDLE){
			__drive(&sabertooth1, &sabertooth2, rover_state->x_analog, rover_state->y_analog, max_velocity, MAX_INCREMENT_STEP_Y, MAX_DECREMENT_STEP_Y); // verificare velocità massima spostando max_velocity nella funzione drive (?)
		}

	}

}

/**
 * @brief Task responsible for updating the state in case the other board fails.
 *
 * The task is responsible for updating the global system view and calculating intentions autonomously
 * if the other board fails. The information on which the task will make decisions, however, is incomplete.
 * Since this task is only responsible for information processing, the estimated time in the worst case
 * is 2 ms. This decreases significantly compared to the case where the system is operating normally,
 * as there is no need to exchange information.
 */
static void single_board_task(void *pvParameters){

	rover_state_t *rover_state = rover_state_get_instance();

	b2b_processing_state();
	b2b_update_global_state();
	rover_state->degraded = ACTIVE;

}

//-------------------- UTILITY FUNCTIONS ----------------------

static inline uint8_t __clear_impulsive_flags(uint8_t control_buttons){
	return (control_buttons) & (ALT_BACKWARD_COMBO_MASK|ALT_BACKWARD_CMD_MASK|BOTH_WHITE_LED_MASK|EMERGENCY_STOP_MASK);
}

static inline uint8_t __clear_emegency_stop_flags(uint8_t control_buttons){
	return (control_buttons) & (~EMERGENCY_STOP_MASK);
}

static inline uint8_t __get_alt_backward_combo_mask(PS2X *ps2x){
	uint8_t or_mask = 0x00U;
	if((check_button_digital(ps2x, PS2X_SQUARE)==1U) && (check_button_digital(ps2x, PS2X_DOWN)==1U)){
		or_mask = ALT_BACKWARD_COMBO_MASK;
	}
	return or_mask;
}

static inline uint8_t __get_backward_cmd_mask(PS2X *ps2x, ROVER_STATE rover_state, uint8_t control_buttons){
	uint8_t or_mask = 0x00U;
	uint8_t alt_backward_combo_mask = (control_buttons & ALT_BACKWARD_COMBO_MASK) != 0U;
	or_mask = control_buttons & (ALT_BACKWARD_CMD_MASK);
	if((alt_backward_combo_mask == 1U) && (check_button_digital(ps2x, PS2X_CIRCLE)== 1U) && (rover_state == IDLE)){
		or_mask |= ALT_BACKWARD_CMD_MASK;
	}
	return or_mask;
}

static inline void __clear_lights_flag(uint8_t *control_buttons){
	*control_buttons = (*control_buttons) & (~(BOTH_WHITE_LED_MASK|L_WHITE_LED_MASK|R_WHITE_LED_MASK));
}

static inline void __clear_emergency_stop_flag(uint8_t *control_buttons){
	*control_buttons = (*control_buttons) & (~EMERGENCY_STOP_MASK);
}

static inline uint8_t __get_lights_control_buttons_mask(PS2X *ps2x, uint8_t control_buttons){
	uint8_t or_mask = 0x00U;

	static uint8_t all_lights_prev_state_button = 0U; // stato fisico precedente

	uint8_t all_lights_actual_state_button = check_button_digital(ps2x, PS2X_R1);
	uint8_t all_lights_actual_state = control_buttons & BOTH_WHITE_LED_MASK;

	if((all_lights_actual_state_button == 1U) && (all_lights_actual_state_button !=all_lights_prev_state_button)){
		all_lights_actual_state ^= BOTH_WHITE_LED_MASK;
	}
	all_lights_prev_state_button = all_lights_actual_state_button;

	or_mask |= all_lights_actual_state;

	if(check_button_digital(ps2x, PS2X_L2)==1U){
		or_mask |= L_WHITE_LED_MASK;
	}

	if(check_button_digital(ps2x, PS2X_R2)==1U){
		or_mask |= R_WHITE_LED_MASK;
	}

	return or_mask;
}

static inline uint8_t __get_buzzer_mask(PS2X *ps2x){
	uint8_t or_mask = 0x00U;
	if(check_button_digital(ps2x, PS2X_L1)==1U){
		or_mask|=BUZZER_MASK;
	}
	return or_mask;
}

static inline uint8_t __get_emergency_stop_mask(PS2X *ps2x, uint8_t control_buttons){
	static uint8_t emergency_stop_prev_state_button = 1U; // stato fisico precedente
	uint8_t emergency_stop_actual_state_button = check_button_digital(ps2x, PS2X_TRIANGLE);

	uint8_t emergency_stop_actual_state = control_buttons & EMERGENCY_STOP_MASK;

	if((emergency_stop_actual_state_button == 1U) && (emergency_stop_actual_state_button !=emergency_stop_prev_state_button)){
		emergency_stop_actual_state ^= EMERGENCY_STOP_MASK;
	}
	emergency_stop_prev_state_button = emergency_stop_actual_state_button;

	return emergency_stop_actual_state;

}

static inline uint8_t __update_control_buttons(PS2X *ps2x, ROVER_STATE rover_state, uint8_t control_buttons){
	uint8_t new_control_buttons = __clear_impulsive_flags(control_buttons);
	new_control_buttons |= __get_alt_backward_combo_mask(ps2x);
	new_control_buttons |= __get_backward_cmd_mask(ps2x, rover_state, new_control_buttons);
	uint8_t tmp_mask = __get_lights_control_buttons_mask(ps2x, new_control_buttons);
	__clear_lights_flag(&new_control_buttons);
	new_control_buttons |= tmp_mask;
	tmp_mask = __get_emergency_stop_mask(ps2x, new_control_buttons);
	__clear_emergency_stop_flag(&new_control_buttons);
	new_control_buttons |= tmp_mask;
	new_control_buttons |= __get_buzzer_mask(ps2x);

	return new_control_buttons;
}

static void __read_gamepad(PS2X *ps2x){

	rover_state_t *rover_state = rover_state_get_instance();

	if(read_gamepad_analog(ps2x, osWaitForever) != PS2X_OK){
		rover_state->control_value |= (1U << 1);
	}

	Cartesian2D y_analog, x_analog;
	get_analog_value(ps2x, LEFT_ANALOG, &y_analog);
	get_analog_value(ps2x, RIGHT_ANALOG, &x_analog);

	rover_state->x_analog = x_analog.x;
	rover_state->y_analog = y_analog.y;
	rover_state->control_buttons = __update_control_buttons(ps2x, rover_state->current_state, rover_state->control_buttons);

}

static void __read_mpu6050(MPU60X0_t *mpu6050){

	Cartesian3D mpu_data;
	static float current_time, previous_time;
	rover_state_t *rover_state = rover_state_get_instance();

	previous_time = current_time;
	current_time = osKernelGetTickCount();
	if(MPU60X0_get_gyro_value(mpu6050, &mpu_data) != MPU60X0_OK){
		rover_state->control_value |= 1;
	}
	if(fabs(mpu_data.z) > 1) // aggiungere una define per questo valore
		rover_state->gyroZ += mpu_data.z * ((current_time - previous_time) / 1000);

	if(MPU60X0_get_accel_value(mpu6050, &mpu_data) != MPU60X0_OK){
		rover_state->control_value |= 1;
	}

	rover_state->accX = -mpu_data.x;

}

static void __read_temperature(void){

	uint16_t raw_value;
	rover_state_t *rover_state = rover_state_get_instance();

	HAL_ADC_PollForConversion(&hadc1, HAL_MAX_DELAY);
	raw_value = HAL_ADC_GetValue(&hadc1);

	rover_state->temperature_B1 = ((float)raw_value) / 4095 * 3300;
	rover_state->temperature_B1 = ((rover_state->temperature_B1 - 760.0) / 2.5) + 25;

}

static int8_t __get_max_velocity(void){

	int8_t max_velocity;
	rover_state_t *rover_state = rover_state_get_instance();

	switch(rover_state->degraded){
		case ACTIVE:
			max_velocity = MAX_VELOCITY_DEGRADED;
			break;
		case INACTIVE:
			max_velocity = MAX_VELOCITY_NORMAL;
			break;
	}

	return max_velocity;

}

static void __drive(sabertooth_t *sabertooth1, sabertooth_t *sabertooth2, int8_t x_analog, int8_t y_analog, int8_t max_velocity,
					uint8_t max_increment_y, uint8_t max_decrement_y){

	static int8_t current_l_wheel = 0, next_l_wheel = 0,
				  current_r_wheel = 0, next_r_wheel = 0;

	if(smoothed_4_motors_drive((Cartesian2D){x_analog, y_analog}, current_r_wheel, current_l_wheel, (float)max_velocity, (float)max_velocity,
								max_increment_y, max_decrement_y, &next_r_wheel, &next_l_wheel) != SA_OK){
		Error_Handler();
	}

	current_l_wheel = next_l_wheel;
	current_r_wheel = next_r_wheel;

	if(current_l_wheel >= 0){
		drive_forward_motor(sabertooth1, MOTOR_1, (uint8_t)(current_l_wheel));
		drive_forward_motor(sabertooth2, MOTOR_1, (uint8_t)(current_l_wheel));
	} else {
		drive_backward_motor(sabertooth1, MOTOR_1, (uint8_t) abs(current_l_wheel));
		drive_backward_motor(sabertooth2, MOTOR_1, (uint8_t) abs(current_l_wheel));
	}

	if(current_r_wheel >= 0){
		drive_forward_motor(sabertooth1, MOTOR_2, (uint8_t)(current_r_wheel));
		drive_forward_motor(sabertooth2, MOTOR_2, (uint8_t)(current_r_wheel));

	} else {
		drive_backward_motor(sabertooth1, MOTOR_2, (uint8_t) abs(current_r_wheel));
		drive_backward_motor(sabertooth2, MOTOR_2, (uint8_t) abs(current_r_wheel));
	}

}

/************ CALLBAKS USED BY THE B2B PROTOCOL ************/

void HAL_TIM_PeriodElapsedCallback(TIM_HandleTypeDef *htim)
{
  if (htim->Instance == TIM10) {
	  HAL_IncTick();
  } else if(htim->Instance == TIM11) {

	  if(timer_elapsed_first != 0){
		  b2b_protocol_t* b2b = get_b2b_instance();
		  stop_timer(b2b->config->timer);
		  timer_elapsed_first = 0;
		  if(b2b->retransmissions_num == 0){
			  b2b->retransmissions_num = 1;
			  if(b2b->protocol_step == 1){
				  b2b_send_state();
			  }else{
				  b2b_send_intention();
			  }
			  start_timer(b2b->config->timer, 1);
		  }else{
			  single_board_mode();
		  }
	  } else {

		  timer_elapsed_first = 1;

	  }

  }
}

void HAL_UART_RxCpltCallback(UART_HandleTypeDef *huart){

	b2b_protocol_t* b2b= get_b2b_instance();

	if (huart == b2b->config->uartHandle){

		if(b2b->protocol_step == 0){
			if(deserialize_status(b2b->buffer) == B2B_OK){
				b2b_send_ACK();
				b2b->protocol_step = 1;
			}
		} else if (b2b->protocol_step == 1){
			if (deserialize_intention(b2b->buffer) == B2B_OK){
				b2b_send_ACK();
				if(b2b_check_intention() != B2B_OK){
					Error_Handler();
				}
				b2b->protocol_step = 0;
			}
		}

	}
}

void HAL_GPIO_EXTI_Callback(uint16_t GPIO_Pin){
	b2b_protocol_t* b2b = get_b2b_instance();

	if (b2b->config->rtr_in_Pin == GPIO_Pin){
		if(b2b->protocol_step == 1)
			b2b_send_state();
		else
			b2b_send_intention();

		start_timer(b2b->config->timer, 1);
	}

	if (b2b->config->ack_in_Pin == GPIO_Pin){
		stop_timer(b2b->config->timer);
		timer_elapsed_first = 0;
		if(b2b->protocol_step == 1){
			b2b_processing_state();
			b2b_request_intention(b2b->buffer);
		} else {
			b2b_update_global_state();
			b2b->protocol_status = 0;
		}

	}

}

/* USER CODE END Application */
